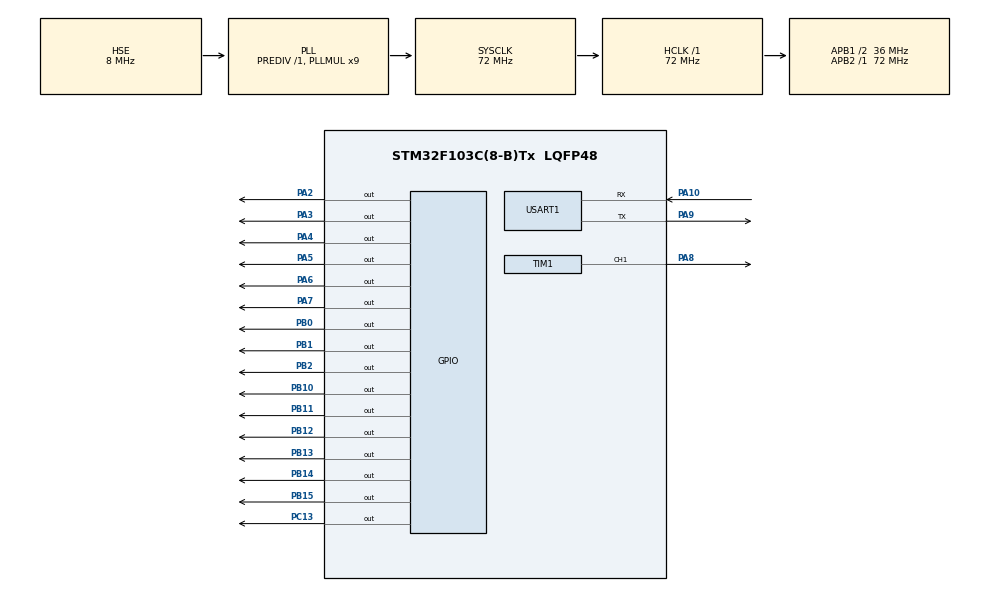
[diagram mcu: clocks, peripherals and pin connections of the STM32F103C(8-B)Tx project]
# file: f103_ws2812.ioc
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Dma.Request0=TIM1_CH1
Dma.TIM1_CH1.0.Direction=DMA_MEMORY_TO_PERIPH
Dma.TIM1_CH1.0.Instance=DMA1_Channel2
Dma.TIM1_CH1.0.MemDataAlignment=DMA_MDATAALIGN_HALFWORD
Dma.TIM1_CH1.0.MemInc=DMA_MINC_ENABLE
Dma.TIM1_CH1.0.Mode=DMA_NORMAL
Dma.TIM1_CH1.0.PeriphDataAlignment=DMA_PDATAALIGN_HALFWORD
Dma.TIM1_CH1.0.PeriphInc=DMA_PINC_DISABLE
Dma.TIM1_CH1.0.Priority=DMA_PRIORITY_LOW
Mcu.Family=STM32F1
Mcu.Name=STM32F103C(8-B)Tx
Mcu.Package=LQFP48
NVIC.DMA1_Channel2_IRQn=true\:0\:0\:false\:false\:true\:false\:true\:true
NVIC.PriorityGroup=NVIC_PRIORITYGROUP_4
NVIC.USART1_IRQn=true\:0\:0\:false\:false\:true\:true\:true\:true
PA10.Mode=Asynchronous
PA10.Signal=USART1_RX
PA13.Mode=Serial_Wire
PA13.Signal=SYS_JTMS-SWDIO
PA14.Mode=Serial_Wire
PA14.Signal=SYS_JTCK-SWCLK
PA2.Signal=GPIO_Output
PA3.Signal=GPIO_Output
PA4.Signal=GPIO_Output
PA5.Signal=GPIO_Output
PA6.Signal=GPIO_Output
PA7.Signal=GPIO_Output
PA8.Signal=S_TIM1_CH1
PA9.Mode=Asynchronous
PA9.Signal=USART1_TX
PB0.Signal=GPIO_Output
PB1.Signal=GPIO_Output
PB10.Signal=GPIO_Output
PB11.Signal=GPIO_Output
PB12.Signal=GPIO_Output
PB13.Signal=GPIO_Output
PB14.Signal=GPIO_Output
PB15.Signal=GPIO_Output
PB2.Signal=GPIO_Output
PC13-TAMPER-RTC.Signal=GPIO_Output
PD0-OSC_IN.Mode=HSE-External-Oscillator
PD0-OSC_IN.Signal=RCC_OSC_IN
PD1-OSC_OUT.Mode=HSE-External-Oscillator
PD1-OSC_OUT.Signal=RCC_OSC_OUT
ProjectManager.HeapSize=0x200
ProjectManager.StackSize=0x400
ProjectManager.TargetToolchain=CMake
RCC.AHBFreq_Value=72000000
RCC.APB1CLKDivider=RCC_HCLK_DIV2
RCC.APB1Freq_Value=36000000
RCC.APB1TimFreq_Value=72000000
RCC.APB2Freq_Value=72000000
RCC.APB2TimFreq_Value=72000000
RCC.HCLKFreq_Value=72000000
RCC.PLLMUL=RCC_PLL_MUL9
RCC.PLLSourceVirtual=RCC_PLLSOURCE_HSE
RCC.SYSCLKFreq_VALUE=72000000
RCC.SYSCLKSource=RCC_SYSCLKSOURCE_PLLCLK
RCC.USBFreq_Value=72000000
SH.S_TIM1_CH1.0=TIM1_CH1,PWM Generation1 CH1
TIM1.Channel-PWM\ Generation1\ CH1=TIM_CHANNEL_1
TIM1.Period=89
USART1.VirtualMode=VM_ASYNC
board=custom

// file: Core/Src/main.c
/* USER CODE BEGIN Header */
/**
  ******************************************************************************
  * @file           : main.c
  * @brief          : Main program body
  ******************************************************************************
  * @attention
  *
  * Copyright (c) 2026 STMicroelectronics.
  * All rights reserved.
  *
  * This software is licensed under terms that can be found in the LICENSE file
  * in the root directory of this software component.
  * If no LICENSE file comes with this software, it is provided AS-IS.
  *
  ******************************************************************************
  */
/* USER CODE END Header */
#include "main.h"
#include "dma.h"
#include "tim.h"
#include "usart.h"
#include "gpio.h"

/* USER CODE BEGIN Includes */
#include "ws2812.h"
#include "led_ctrl.h"
/* USER CODE END Includes */

/* USER CODE BEGIN PV */
static uint8_t rainbow_offset = 0;
/* USER CODE END PV */

void SystemClock_Config(void);

/* USER CODE BEGIN 0 */
/* HSV转RGB (h: 0-255, s: 0-255, v: 0-255) */
void HSV2RGB(uint8_t h, uint8_t s, uint8_t v, uint8_t *r, uint8_t *g, uint8_t *b)
{
    uint8_t region, remainder, p, q, t;

    if (s == 0) {
        *r = *g = *b = v;
        return;
    }

    region = h / 43;
    remainder = (h - (region * 43)) * 6;

    p = (v * (255 - s)) >> 8;
    q = (v * (255 - ((s * remainder) >> 8))) >> 8;
    t = (v * (255 - ((s * (255 - remainder)) >> 8))) >> 8;

    switch (region) {
        case 0:  *r = v; *g = t; *b = p; break;
        case 1:  *r = q; *g = v; *b = p; break;
        case 2:  *r = p; *g = v; *b = t; break;
        case 3:  *r = p; *g = q; *b = v; break;
        case 4:  *r = t; *g = p; *b = v; break;
        default: *r = v; *g = p; *b = q; break;
    }
}

/* 彩虹流水灯效果 */
void Rainbow_Effect(void)
{
    uint8_t r, g, b;
    for (uint16_t i = 0; i < WS2812_NUM_LEDS; i++) {
        uint8_t hue = (i * 256 / WS2812_NUM_LEDS + rainbow_offset) & 0xFF;
        HSV2RGB(hue, 255, 100, &r, &g, &b);
        WS2812_SetPixel(i, r, g, b);
    }
    rainbow_offset++;
}
/* USER CODE END 0 */

int main(void)
{

  /* MCU Configuration--------------------------------------------------------*/

  /* Reset of all peripherals, Initializes the Flash interface and the Systick. */
  HAL_Init();

  /* Configure the system clock */
  SystemClock_Config();

  /* Initialize all configured peripherals */
  MX_GPIO_Init();
  MX_DMA_Init();
  MX_USART1_UART_Init();
  MX_TIM1_Init();
  /* USER CODE BEGIN 2 */
  WS2812_Init(&htim1, TIM_CHANNEL_1);
  LED_Ctrl_Init(&huart1);
  /* USER CODE END 2 */

  /* Infinite loop */
  /* USER CODE BEGIN WHILE */
  while (1)
  {
    LED_Ctrl_Process();
    /* USER CODE END WHILE */

  }
}

void SystemClock_Config(void)
{
  RCC_OscInitTypeDef RCC_OscInitStruct = {0};
  RCC_ClkInitTypeDef RCC_ClkInitStruct = {0};

  /** Initializes the RCC Oscillators according to the specified parameters
  * in the RCC_OscInitTypeDef structure.
  */
  RCC_OscInitStruct.OscillatorType = RCC_OSCILLATORTYPE_HSE;
  RCC_OscInitStruct.HSEState = RCC_HSE_ON;
  RCC_OscInitStruct.HSEPredivValue = RCC_HSE_PREDIV_DIV1;
  RCC_OscInitStruct.HSIState = RCC_HSI_ON;
  RCC_OscInitStruct.PLL.PLLState = RCC_PLL_ON;
  RCC_OscInitStruct.PLL.PLLSource = RCC_PLLSOURCE_HSE;
  RCC_OscInitStruct.PLL.PLLMUL = RCC_PLL_MUL9;
  if (HAL_RCC_OscConfig(&RCC_OscInitStruct) != HAL_OK)
  {
    Error_Handler();
  }

  /** Initializes the CPU, AHB and APB buses clocks
  */
  RCC_ClkInitStruct.ClockType = RCC_CLOCKTYPE_HCLK|RCC_CLOCKTYPE_SYSCLK
                              |RCC_CLOCKTYPE_PCLK1|RCC_CLOCKTYPE_PCLK2;
  RCC_ClkInitStruct.SYSCLKSource = RCC_SYSCLKSOURCE_PLLCLK;
  RCC_ClkInitStruct.AHBCLKDivider = RCC_SYSCLK_DIV1;
  RCC_ClkInitStruct.APB1CLKDivider = RCC_HCLK_DIV2;
  RCC_ClkInitStruct.APB2CLKDivider = RCC_HCLK_DIV1;

  if (HAL_RCC_ClockConfig(&RCC_ClkInitStruct, FLASH_LATENCY_2) != HAL_OK)
  {
    Error_Handler();
  }
}

/* USER CODE BEGIN 4 */
void HAL_TIM_PWM_PulseFinishedCallback(TIM_HandleTypeDef *htim)
{
    if (htim->Instance == TIM4) {
        WS2812_DMACompleteCallback();
    }
}

void HAL_UART_RxCpltCallback(UART_HandleTypeDef *huart)
{
    if (huart->Instance == USART1) {
        LED_Ctrl_RxCallback();
    }
}
/* USER CODE END 4 */

void Error_Handler(void)
{
  __disable_irq();
  while (1)
  {
  }
}
